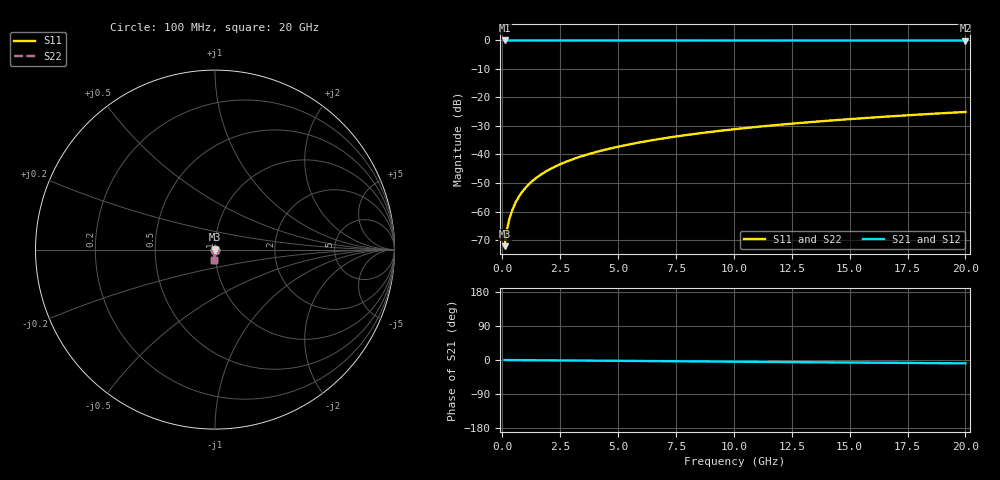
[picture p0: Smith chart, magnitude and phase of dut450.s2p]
! Touchstone file exported from HFSS 2026.1.0
!  File:  C:/ffzhzh/LocalFiles/Ansys_Project_Files/temp_train_TSV_450_1783021675_46388.aedt
!  Generated:  03:49:27 AM Jul  3, 2026
!  Design:  TSV
!  Project:  temp_train_TSV_450_1783021675_46388
! Variables:
!  h_bsmrdl = 2um
!  h_ox = 20um
!  h_rdl = 5um
!  h_sub = 86.03um
!  h_tmrdl = 5um
!  h_tsv = 86.03um
!  h_via = 3um
!  l_bsmrdl = 300um
!  l_sub = 427.98um
!  l_tmrdl = 200um
!  m_sub = 200um
!  pitch = 40.68um
!  r_tsv = 13.99um
!  s_tmrdl = 10um
!  w_bsmrdl = 18um
!  w_sub = 500um
!  w_tmrdl = 12um
!  x_tsv_center1 = 206um
!  x_tsv_center2 = 524um
!  x_tsv_center3 = 736um
!  x_tsv_center4 = 1054um
!  x_tsv_center5 = 1266um
!  x_tsv_center6 = 1584um
# GHz S MA R 50.000000
! Terminal data exported
! Port[1] = TSV1_1_T1
! Port[2] = TSV1_1_T2
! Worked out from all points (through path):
!   200 points, 100 MHz to 20 GHz, reference 50 ohm
!   highest |S21| = 0.00 dB at 100 MHz (marker M1); lowest = 0.0 dB at 20 GHz (marker M2)
!   group delay of S21, straight-line fit = 1.22 ps
!   lowest |S11| = -72.2 dB at 100 MHz (marker M3), VSWR 1.00, Z = 50 - j0.023 ohm
!   |S11| at or under -10 dB: start of sweep to end of sweep
!   |S22| runs from -72.2 to -25.1 dB; largest |S21 - S12| = 4.1e-15
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0.1  0.0002467 -69.0  0.9999 -0.0  0.9999 -0.0  0.0002467 -69.0
! Gamma 0 0 0 0
! Port Impedance 50 0 50 0
0.2  0.0004771 -77.3  0.9999 -0.1  0.9999 -0.1  0.0004771 -77.3
0.3  0.00072 -79.8  0.9999 -0.1  0.9999 -0.1  0.00072 -79.8
0.4  0.0009728 -80.9  0.9998 -0.2  0.9998 -0.2  0.0009728 -80.9
0.5  0.001233 -81.6  0.9998 -0.2  0.9998 -0.2  0.001233 -81.6
0.7  0.001771 -82.7  0.9998 -0.3  0.9998 -0.3  0.001771 -82.7
0.8  0.002045 -83.1  0.9997 -0.4  0.9997 -0.4  0.002045 -83.1
1  0.002596 -84.0  0.9997 -0.5  0.9997 -0.5  0.002596 -84.0
1.2  0.00315 -84.7  0.9997 -0.5  0.9997 -0.5  0.00315 -84.7
1.4  0.003704 -85.3  0.9996 -0.6  0.9996 -0.6  0.003704 -85.3
1.7  0.004535 -86.1  0.9996 -0.8  0.9996 -0.8  0.004535 -86.1
2  0.005365 -86.7  0.9996 -0.9  0.9996 -0.9  0.005365 -86.7
2.7  0.007301 -87.7  0.9995 -1.2  0.9995 -1.2  0.007301 -87.7
3.5  0.009518 -88.6  0.9995 -1.6  0.9995 -1.6  0.009518 -88.6
4.2  0.01146 -89.1  0.9994 -1.9  0.9994 -1.9  0.01146 -89.1
5  0.01369 -89.7  0.9993 -2.2  0.9993 -2.2  0.01369 -89.7
6.8  0.01873 -90.9  0.9991 -3.0  0.9991 -3.0  0.01873 -90.9
8.3  0.02294 -91.7  0.999 -3.7  0.999 -3.7  0.02294 -91.7
10.1  0.02799 -92.7  0.9987 -4.5  0.9987 -4.5  0.02799 -92.7
13.4  0.03725 -94.4  0.9983 -5.9  0.9983 -5.9  0.03725 -94.4
16.7  0.0465 -96.0  0.9978 -7.4  0.9978 -7.4  0.0465 -96.0
20  0.05573 -97.6  0.9972 -8.8  0.9972 -8.8  0.05573 -97.6
